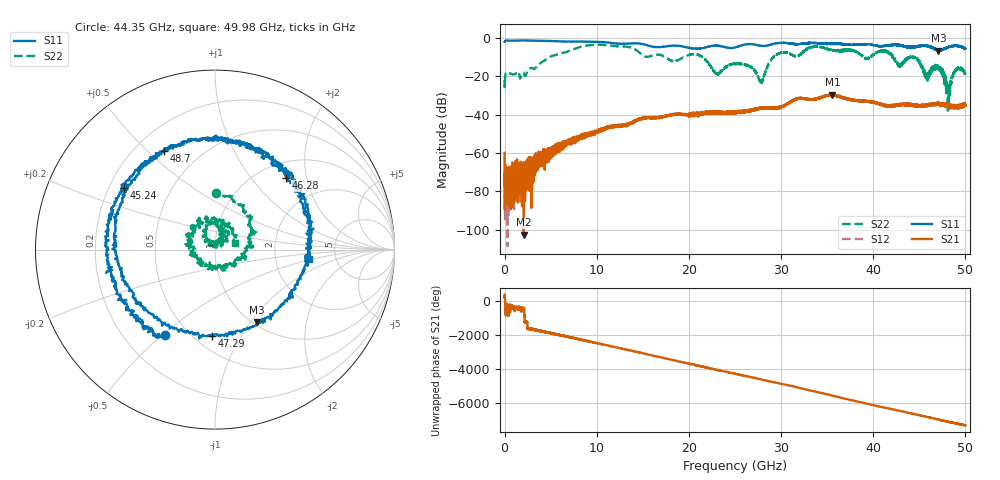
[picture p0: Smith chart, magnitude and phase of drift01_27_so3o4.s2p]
!Created with skrf (http://scikit-rf.org).
# Hz S RI R 50.0
!freq ReS11 ImS11 ReS21 ImS21 ReS12 ImS12 ReS22 ImS22
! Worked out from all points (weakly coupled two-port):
!   10001 points, 300 kHz to 50 GHz, reference 50 ohm
!   highest |S21| = -29.61 dB at 35.57 GHz (marker M1); lowest = -102.6 dB at 2.085 GHz (marker M2)
!   lowest |S11| = -6.6 dB at 47.08 GHz (marker M3), VSWR 2.75, Z = 52.1 - j53.7 ohm
!   |S11| at or under -10 dB: nowhere
!   |S22| runs from -37.8 to -3.6 dB; largest |S21 - S12| = 0.0037
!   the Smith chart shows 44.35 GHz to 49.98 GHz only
!   S11 on the Smith chart (normalised r, x): 44.35 GHz: 0.38, -0.51; 45.24 GHz: 0.26, +0.29; 46.28 GHz: 1.30, +1.53; 47.29 GHz: 0.61, -0.76; 48.7 GHz: 0.32, +0.56; 49.98 GHz: 3.13, -0.45
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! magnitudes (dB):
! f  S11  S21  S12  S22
! 300 kHz  -2.1  -59.9  -59.4  -22.0
! 255.3 MHz  -1.4  -71.6  -79.9  -18.0
! 2.085 GHz  -1.4  -102.6  -71.5  -18.7
! 8.335 GHz  -1.9  -51.6  -51.3  -4.5
! 16.67 GHz  -4.8  -41.5  -41.5  -8.7
! 20.97 GHz  -5.7  -40.2  -40.2  -8.8
! 23.07 GHz  -4.1  -38.7  -38.9  -18.6
! 25 GHz  -5.0  -38.9  -38.8  -13.5
! 27.84 GHz  -4.1  -36.5  -36.5  -22.8
! 29.48 GHz  -2.9  -36.8  -36.5  -8.8
! 33.34 GHz  -2.6  -32.1  -31.9  -4.7
! 35.57 GHz  -2.9  -29.6  -29.8  -6.3
! 41.67 GHz  -3.9  -35.2  -35.5  -7.6
! 44.35 GHz  -5.2  -35.5  -35.0  -10.0
! 45.24 GHz  -4.3  -35.2  -35.5  -14.4
! 46.28 GHz  -5.0  -34.9  -34.4  -16.6
! 47.08 GHz  -6.6  -34.5  -34.4  -16.4
! 47.29 GHz  -6.4  -34.4  -34.4  -15.9
! 48.12 GHz  -4.9  -35.6  -35.4  -34.3
! 48.7 GHz  -4.2  -36.5  -36.1  -18.7
! 49.98 GHz  -5.6  -35.4  -34.9  -18.5
! 50 GHz  -5.6  -35.4  -35.2  -18.5
